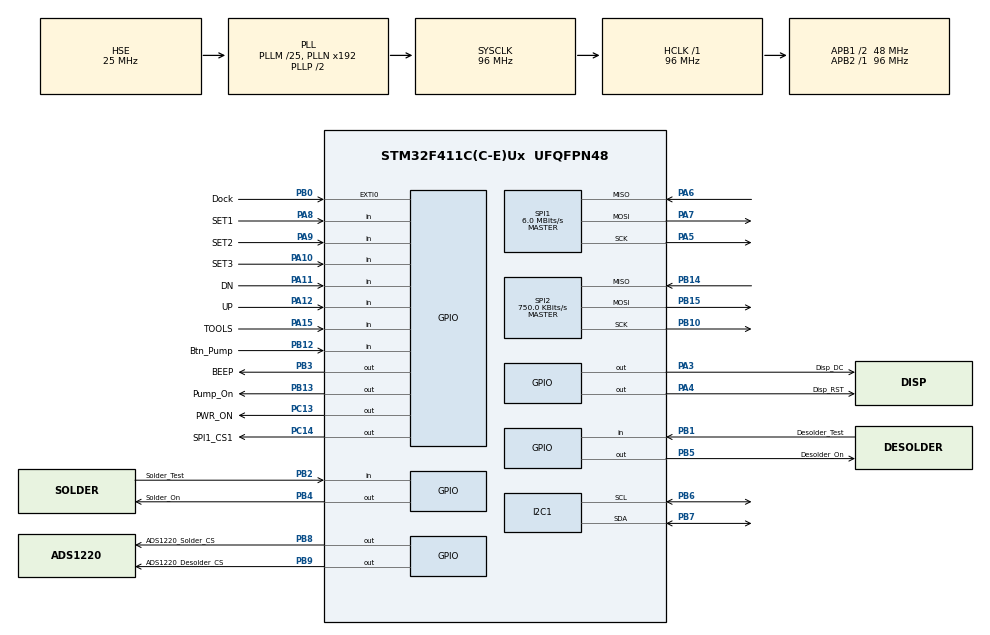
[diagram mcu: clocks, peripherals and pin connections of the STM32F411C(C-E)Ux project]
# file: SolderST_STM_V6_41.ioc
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Dma.Request0=SPI1_TX
Dma.SPI1_TX.0.Direction=DMA_MEMORY_TO_PERIPH
Dma.SPI1_TX.0.FIFOMode=DMA_FIFOMODE_DISABLE
Dma.SPI1_TX.0.Instance=DMA2_Stream2
Dma.SPI1_TX.0.MemDataAlignment=DMA_MDATAALIGN_BYTE
Dma.SPI1_TX.0.MemInc=DMA_MINC_ENABLE
Dma.SPI1_TX.0.Mode=DMA_NORMAL
Dma.SPI1_TX.0.PeriphDataAlignment=DMA_PDATAALIGN_BYTE
Dma.SPI1_TX.0.PeriphInc=DMA_PINC_DISABLE
Dma.SPI1_TX.0.Priority=DMA_PRIORITY_MEDIUM
I2C1.DutyCycle=I2C_DUTYCYCLE_2
I2C1.I2C_Mode=I2C_Fast
Mcu.Family=STM32F4
Mcu.Name=STM32F411C(C-E)Ux
Mcu.Package=UFQFPN48
NVIC.DMA2_Stream2_IRQn=true\:0\:0\:false\:false\:true\:false\:true\:true
NVIC.EXTI0_IRQn=true\:0\:0\:false\:false\:true\:true\:true\:true
NVIC.PriorityGroup=NVIC_PRIORITYGROUP_4
NVIC.TIM1_UP_TIM10_IRQn=true\:0\:0\:false\:false\:true\:true\:true\:true
NVIC.TIM2_IRQn=true\:0\:0\:false\:false\:true\:true\:true\:true
NVIC.TIM3_IRQn=true\:0\:0\:false\:false\:true\:true\:true\:true
NVIC.TIM5_IRQn=true\:0\:0\:false\:false\:true\:true\:true\:true
PA10.GPIO_Label=SET3
PA10.GPIO_PuPd=GPIO_PULLUP
PA10.Signal=GPIO_Input
PA11.GPIO_Label=DN
PA11.GPIO_PuPd=GPIO_PULLUP
PA11.Signal=GPIO_Input
PA12.GPIO_Label=UP
PA12.GPIO_PuPd=GPIO_PULLUP
PA12.Signal=GPIO_Input
PA15.GPIO_Label=TOOLS
PA15.GPIO_PuPd=GPIO_PULLUP
PA15.Signal=GPIO_Input
PA3.GPIO_Label=Disp_DC
PA3.Signal=GPIO_Output
PA4.GPIO_Label=Disp_RST
PA4.Signal=GPIO_Output
PA5.Mode=Full_Duplex_Master
PA5.Signal=SPI1_SCK
PA6.Mode=Full_Duplex_Master
PA6.Signal=SPI1_MISO
PA7.Mode=Full_Duplex_Master
PA7.Signal=SPI1_MOSI
PA8.GPIO_Label=SET1
PA8.GPIO_PuPd=GPIO_PULLUP
PA8.Signal=GPIO_Input
PA9.GPIO_Label=SET2
PA9.GPIO_PuPd=GPIO_PULLUP
PA9.Signal=GPIO_Input
PB0.GPIO_Label=Dock
PB0.GPIO_ModeDefaultEXTI=GPIO_MODE_IT_FALLING
PB0.GPIO_PuPd=GPIO_PULLUP
PB0.Signal=GPXTI0
PB1.GPIO_Label=Desolder_Test
PB1.GPIO_PuPd=GPIO_PULLUP
PB1.Signal=GPIO_Input
PB10.Mode=Full_Duplex_Master
PB10.Signal=SPI2_SCK
PB12.GPIO_Label=Btn_Pump
PB12.GPIO_PuPd=GPIO_PULLUP
PB12.Signal=GPIO_Input
PB13.GPIO_Label=Pump_On
PB13.Signal=GPIO_Output
PB14.Mode=Full_Duplex_Master
PB14.Signal=SPI2_MISO
PB15.Mode=Full_Duplex_Master
PB15.Signal=SPI2_MOSI
PB2.GPIO_Label=Solder_Test
PB2.GPIO_PuPd=GPIO_PULLUP
PB2.Signal=GPIO_Input
PB3.GPIO_Label=BEEP
PB3.Signal=GPIO_Output
PB4.GPIO_Label=Solder_On
PB4.Signal=GPIO_Output
PB5.GPIO_Label=Desolder_On
PB5.Signal=GPIO_Output
PB6.Mode=I2C
PB6.Signal=I2C1_SCL
PB7.Mode=I2C
PB7.Signal=I2C1_SDA
PB8.GPIO_Label=ADS1220_Solder_CS
PB8.PinState=GPIO_PIN_SET
PB8.Signal=GPIO_Output
PB9.GPIO_Label=ADS1220_Desolder_CS
PB9.PinState=GPIO_PIN_SET
PB9.Signal=GPIO_Output
PC13-ANTI_TAMP.GPIO_Label=PWR_ON
PC13-ANTI_TAMP.GPIO_ModeDefaultOutputPP=GPIO_MODE_OUTPUT_PP
PC13-ANTI_TAMP.GPIO_PuPd=GPIO_NOPULL
PC13-ANTI_TAMP.Signal=GPIO_Output
PC14-OSC32_IN.GPIO_Label=SPI1_CS1
PC14-OSC32_IN.Signal=GPIO_Output
PH0\ -\ OSC_IN.Mode=HSE-External-Oscillator
PH0\ -\ OSC_IN.Signal=RCC_OSC_IN
PH1\ -\ OSC_OUT.Mode=HSE-External-Oscillator
PH1\ -\ OSC_OUT.Signal=RCC_OSC_OUT
ProjectManager.HeapSize=0x200
ProjectManager.StackSize=0x400
ProjectManager.TargetToolchain=STM32CubeIDE
RCC.48MHZClocksFreq_Value=48000000
RCC.AHBFreq_Value=96000000
RCC.APB1CLKDivider=RCC_HCLK_DIV2
RCC.APB1Freq_Value=48000000
RCC.APB1TimFreq_Value=96000000
RCC.APB2Freq_Value=96000000
RCC.APB2TimFreq_Value=96000000
RCC.CortexFreq_Value=96000000
RCC.HCLKFreq_Value=96000000
RCC.HSE_VALUE=25000000
RCC.HSI_VALUE=16000000
RCC.LSE_VALUE=32768
RCC.PLLM=25
RCC.PLLSourceVirtual=RCC_PLLSOURCE_HSE
RCC.SYSCLKFreq_VALUE=96000000
RCC.SYSCLKSource=RCC_SYSCLKSOURCE_PLLCLK
RCC.VCOOutputFreq_Value=192000000
SPI1.BaudRatePrescaler=SPI_BAUDRATEPRESCALER_16
SPI1.CLKPhase=SPI_PHASE_2EDGE
SPI1.CLKPolarity=SPI_POLARITY_HIGH
SPI1.CalculateBaudRate=6.0 MBits/s
SPI1.Direction=SPI_DIRECTION_2LINES
SPI1.Mode=SPI_MODE_MASTER
SPI1.VirtualType=VM_MASTER
SPI2.BaudRatePrescaler=SPI_BAUDRATEPRESCALER_64
SPI2.CLKPhase=SPI_PHASE_2EDGE
SPI2.CalculateBaudRate=750.0 KBits/s
SPI2.Direction=SPI_DIRECTION_2LINES
SPI2.Mode=SPI_MODE_MASTER
SPI2.VirtualType=VM_MASTER
TIM10.AutoReloadPreload=TIM_AUTORELOAD_PRELOAD_ENABLE
TIM10.Period=59999
TIM10.Prescaler=47999
TIM2.AutoReloadPreload=TIM_AUTORELOAD_PRELOAD_ENABLE
TIM2.Period=19999
TIM2.Prescaler=9599
TIM3.AutoReloadPreload=TIM_AUTORELOAD_PRELOAD_ENABLE
TIM3.Period=4999
TIM3.Prescaler=95
TIM3.TIM_MasterOutputTrigger=TIM_TRGO_UPDATE
TIM5.AutoReloadPreload=TIM_AUTORELOAD_PRELOAD_ENABLE
TIM5.Period=9999
TIM5.Prescaler=95
VP_TIM10_VS_ClockSourceINT.Mode=Enable_Timer
VP_TIM2_VS_ClockSourceINT.Mode=Internal
VP_TIM3_VS_ClockSourceINT.Mode=Internal
VP_TIM5_VS_ClockSourceINT.Mode=Internal
board=custom

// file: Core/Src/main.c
/* USER CODE BEGIN Header */
/**
 ******************************************************************************
 * @file           : main.c v6.42
 * @brief          : Main program body
 ******************************************************************************
 */
/* USER CODE END Header */
#include "main.h"
#include "dma.h"
#include "i2c.h"
#include "spi.h"
#include "tim.h"
#include "gpio.h"

/* USER CODE BEGIN Includes */
#include "st7789.h"
#include "fonts.h"
#include "display.h"
#include "eeprom_i2c.h"
#include "config.h"
#include "buttons.h"
#include "state.h"
#include "commands.h"
#include "ui.h"
#include "heater.h"
#include "ads1220.h"
#include "buzzer.h"
/* USER CODE END Includes */

/* USER CODE BEGIN PV */
static bool g_solder_ok   = false;
static bool g_desolder_ok = false;
/* USER CODE END PV */

void SystemClock_Config(void);

int main(void)
{

  /* MCU Configuration--------------------------------------------------------*/

  /* Reset of all peripherals, Initializes the Flash interface and the Systick. */
  HAL_Init();

  /* Configure the system clock */
  SystemClock_Config();

  /* Initialize all configured peripherals */
  MX_GPIO_Init();
  MX_DMA_Init();
  MX_I2C1_Init();
  MX_SPI1_Init();
  MX_TIM2_Init();
  MX_TIM3_Init();
  MX_TIM5_Init();
  MX_SPI2_Init();
  MX_TIM10_Init();
  /* USER CODE BEGIN 2 */
  CONFIG_Init();
  ST7789_Init();
  DISPLAY_RegisterDriver(&st7789_interface);

  g_solder_ok   = ADS1220_InitSolder();
  g_desolder_ok = ADS1220_InitDesolder();

  HEATER_Init();
  HAL_TIM_Base_Start_IT(&htim5);
  HAL_TIM_Base_Start_IT(&htim10);

  DISPLAY_FillScreen(BLACK);
  DISPLAY_Print(10, 5, "rev 6.42", &AntiquaB_24_uni, YELLOW, BLACK);
  /* USER CODE END 2 */

  /* Infinite loop */
  while (1)
  {

    /* USER CODE BEGIN 3 */

    /* Чтение температуры (ADS1220) */
    {
        float temp_c = 0.0f;
        if (g_solder_ok && ADS1220_ReadTempSolder(&temp_c)) {
            if (temp_c < 0.0f) temp_c = 0.0f;
            g_tCurrentSolder = (uint16_t)(temp_c + 0.5f);
        }
        if (g_desolder_ok && ADS1220_ReadTempDesolder(&temp_c)) {
            if (temp_c < 0.0f) temp_c = 0.0f;
            g_tCurrentDesolder = (uint16_t)(temp_c + 0.5f);
        }
    }

    /* Авто-переключение фокуса: если активный инструмент стал
       неисправен/отключен прямо во время работы, а другой в порядке —
       молча переносим фокус на исправный. Не делаем этого, пока
       пользователь реально что-то редактирует (правит значение в
       Service/Expert), чтобы не сбить его посреди правки. */
    {
        bool active_ok = HEATER_IsToolOk(g_WorkFlags.tool);
        bool other_ok  = HEATER_IsToolOk(!g_WorkFlags.tool);
        bool editing   = STATE_IsEditing() || STATE_IsExpertEditing();
        if (!active_ok && other_ok && !editing) {
            g_WorkFlags.tool = !g_WorkFlags.tool;
            g_UI_NeedsClear = true;
            if (STATE_GetMode() == SYS_MODE_MAIN_SOLDER || STATE_GetMode() == SYS_MODE_MAIN_DESOLDER) {
                STATE_SetMode(g_WorkFlags.tool ? SYS_MODE_MAIN_SOLDER : SYS_MODE_MAIN_DESOLDER);
            }
        }
    }

    /* Насос — единая реализация в heater.c (HEATER_PumpTick),
       раньше была продублирована здесь инлайном */
    HEATER_PumpTick();

    /* Индикатор записи EEPROM (см. UI_DrawInfoZone в ui.c) взводится
       ниже, в момент реальной отложенной записи — не раньше */

    /* FSM кнопок */
    {
        static uint16_t last_mask = 0;
        ButtonEvent_t event = BUTTONS_Process();
        if (event != BTN_EVENT_NONE) {
            COMMANDS_HandleButtonEvent(event);
            if (CONFIG_IsDirty()) g_SaveDelayCounter = 0;
        }
        if (g_ButtonContext.stable_mask == 0 && last_mask != 0)
            if (CONFIG_IsDirty()) g_SaveDelayCounter = SAVE_DELAY_TICKS;
        last_mask = g_ButtonContext.stable_mask;
        if (g_SaveDelayCounter == 0 && g_ButtonContext.stable_mask == 0
                && CONFIG_IsDirty()) {
            /* CONFIG_SaveToEEPROM() пишет по одному dirty-полю за вызов.
               Если полей несколько, будет несколько успешных вызовов
               подряд (по одному на проходку цикла) — не продлеваем
               вспышку на каждое из них, иначе индикатор "горит",
               пока не смоются все поля, вместо короткого моргания. */
            if (CONFIG_SaveToEEPROM()) {
                uint32_t now = HAL_GetTick();
                if ((int32_t)(g_EepromFlashUntil - now) <= 0) {
                    g_EepromFlashUntil = now + EEPROM_FLASH_MS;
                }
            }
        }
    }

    UI_UpdateLoop();
    HAL_Delay(5);

  }
  /* USER CODE END 3 */
}

void SystemClock_Config(void)
{
  RCC_OscInitTypeDef RCC_OscInitStruct = {0};
  RCC_ClkInitTypeDef RCC_ClkInitStruct = {0};

  /** Configure the main internal regulator output voltage
  */
  __HAL_RCC_PWR_CLK_ENABLE();
  __HAL_PWR_VOLTAGESCALING_CONFIG(PWR_REGULATOR_VOLTAGE_SCALE1);

  /** Initializes the RCC Oscillators according to the specified parameters
  * in the RCC_OscInitTypeDef structure.
  */
  RCC_OscInitStruct.OscillatorType = RCC_OSCILLATORTYPE_HSE;
  RCC_OscInitStruct.HSEState = RCC_HSE_ON;
  RCC_OscInitStruct.PLL.PLLState = RCC_PLL_ON;
  RCC_OscInitStruct.PLL.PLLSource = RCC_PLLSOURCE_HSE;
  RCC_OscInitStruct.PLL.PLLM = 25;
  RCC_OscInitStruct.PLL.PLLN = 192;
  RCC_OscInitStruct.PLL.PLLP = RCC_PLLP_DIV2;
  RCC_OscInitStruct.PLL.PLLQ = 4;
  if (HAL_RCC_OscConfig(&RCC_OscInitStruct) != HAL_OK)
  {
    Error_Handler();
  }

  /** Initializes the CPU, AHB and APB buses clocks
  */
  RCC_ClkInitStruct.ClockType = RCC_CLOCKTYPE_HCLK|RCC_CLOCKTYPE_SYSCLK
                              |RCC_CLOCKTYPE_PCLK1|RCC_CLOCKTYPE_PCLK2;
  RCC_ClkInitStruct.SYSCLKSource = RCC_SYSCLKSOURCE_PLLCLK;
  RCC_ClkInitStruct.AHBCLKDivider = RCC_SYSCLK_DIV1;
  RCC_ClkInitStruct.APB1CLKDivider = RCC_HCLK_DIV2;
  RCC_ClkInitStruct.APB2CLKDivider = RCC_HCLK_DIV1;

  if (HAL_RCC_ClockConfig(&RCC_ClkInitStruct, FLASH_LATENCY_3) != HAL_OK)
  {
    Error_Handler();
  }
}

/* USER CODE BEGIN 4 */

void HAL_TIM_PeriodElapsedCallback(TIM_HandleTypeDef *htim) {
    if (htim->Instance == TIM2) {
        HAL_TIM_Base_Stop_IT(&htim2);
        g_WorkFlags.IsMove = false;
        EXTI->IMR |= Dock_Pin;
    } else if (htim->Instance == TIM3) {
        HEATER_Tick();
    } else if (htim->Instance == TIM5) {
        static uint16_t last_gpio  = 0;
        static uint8_t  stable_cnt = 0;
        if (g_SaveDelayCounter) g_SaveDelayCounter--;
        BUZZER_Tick();
        uint16_t gpio = (~GPIOA->IDR) & BTN_ALL_PINS;
        if (gpio == last_gpio) { if (stable_cnt < 3) stable_cnt++; }
        else { stable_cnt = 1; last_gpio = gpio; }
        if (stable_cnt == 3) {
            if (gpio != 0 && g_ButtonContext.stable_mask == 0)
                g_ButtonContext.chord_window = CHORD_WINDOW_TICKS;
            g_ButtonContext.stable_mask = gpio;
        }
        if (g_ButtonContext.stable_mask != 0) {
            g_ButtonContext.buttons_tick++;
            if (g_ButtonContext.chord_window) g_ButtonContext.chord_window--;
        } else {
            g_ButtonContext.buttons_tick = 0;
        }
    } else if (htim->Instance == TIM10) {
        CONFIG_DecrementSleepCounters();
    }
}

void HAL_GPIO_EXTI_Callback(uint16_t GPIO_Pin) {
    if (GPIO_Pin == Dock_Pin) {
        EXTI->IMR &= ~Dock_Pin;
        g_WorkFlags.IsMove = true;
        HAL_TIM_Base_Start_IT(&htim2);
        HEATER_ResetSleepSolder();
    }
}

/* USER CODE END 4 */

void Error_Handler(void)
{
    __disable_irq();
    while (1) {}
}
